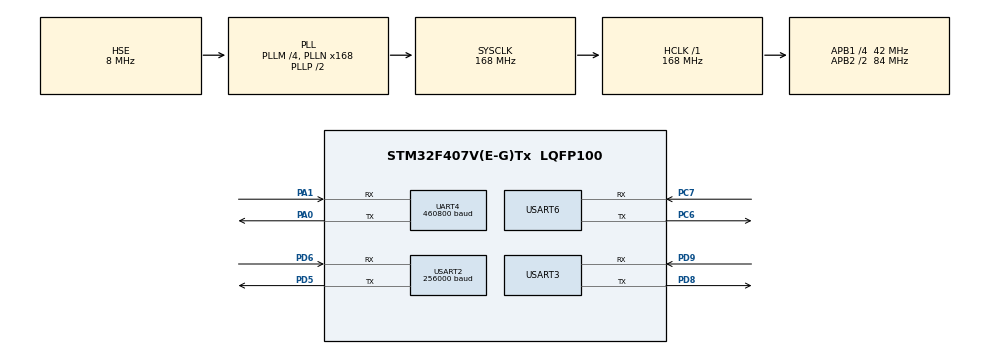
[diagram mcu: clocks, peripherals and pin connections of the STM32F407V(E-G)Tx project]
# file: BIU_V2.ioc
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Dma.Request0=USART2_RX
Dma.Request1=USART2_TX
Dma.Request2=USART3_RX
Dma.Request3=USART3_TX
Dma.Request4=UART4_RX
Dma.Request5=UART4_TX
Dma.Request6=USART6_RX
Dma.Request7=USART6_TX
Dma.UART4_RX.4.Direction=DMA_PERIPH_TO_MEMORY
Dma.UART4_RX.4.FIFOMode=DMA_FIFOMODE_DISABLE
Dma.UART4_RX.4.Instance=DMA1_Stream2
Dma.UART4_RX.4.MemDataAlignment=DMA_MDATAALIGN_BYTE
Dma.UART4_RX.4.MemInc=DMA_MINC_ENABLE
Dma.UART4_RX.4.Mode=DMA_NORMAL
Dma.UART4_RX.4.PeriphDataAlignment=DMA_PDATAALIGN_BYTE
Dma.UART4_RX.4.PeriphInc=DMA_PINC_DISABLE
Dma.UART4_RX.4.Priority=DMA_PRIORITY_LOW
Dma.UART4_TX.5.Direction=DMA_MEMORY_TO_PERIPH
Dma.UART4_TX.5.FIFOMode=DMA_FIFOMODE_DISABLE
Dma.UART4_TX.5.Instance=DMA1_Stream4
Dma.UART4_TX.5.MemDataAlignment=DMA_MDATAALIGN_BYTE
Dma.UART4_TX.5.MemInc=DMA_MINC_ENABLE
Dma.UART4_TX.5.Mode=DMA_NORMAL
Dma.UART4_TX.5.PeriphDataAlignment=DMA_PDATAALIGN_BYTE
Dma.UART4_TX.5.PeriphInc=DMA_PINC_DISABLE
Dma.UART4_TX.5.Priority=DMA_PRIORITY_LOW
Dma.USART2_RX.0.Direction=DMA_PERIPH_TO_MEMORY
Dma.USART2_RX.0.FIFOMode=DMA_FIFOMODE_DISABLE
Dma.USART2_RX.0.Instance=DMA1_Stream5
Dma.USART2_RX.0.MemDataAlignment=DMA_MDATAALIGN_BYTE
Dma.USART2_RX.0.MemInc=DMA_MINC_ENABLE
Dma.USART2_RX.0.Mode=DMA_NORMAL
Dma.USART2_RX.0.PeriphDataAlignment=DMA_PDATAALIGN_BYTE
Dma.USART2_RX.0.PeriphInc=DMA_PINC_DISABLE
Dma.USART2_RX.0.Priority=DMA_PRIORITY_LOW
Dma.USART2_TX.1.Direction=DMA_MEMORY_TO_PERIPH
Dma.USART2_TX.1.FIFOMode=DMA_FIFOMODE_DISABLE
Dma.USART2_TX.1.Instance=DMA1_Stream6
Dma.USART2_TX.1.MemDataAlignment=DMA_MDATAALIGN_BYTE
Dma.USART2_TX.1.MemInc=DMA_MINC_ENABLE
Dma.USART2_TX.1.Mode=DMA_NORMAL
Dma.USART2_TX.1.PeriphDataAlignment=DMA_PDATAALIGN_BYTE
Dma.USART2_TX.1.PeriphInc=DMA_PINC_DISABLE
Dma.USART2_TX.1.Priority=DMA_PRIORITY_LOW
Dma.USART3_RX.2.Direction=DMA_PERIPH_TO_MEMORY
Dma.USART3_RX.2.FIFOMode=DMA_FIFOMODE_DISABLE
Dma.USART3_RX.2.Instance=DMA1_Stream1
Dma.USART3_RX.2.MemDataAlignment=DMA_MDATAALIGN_BYTE
Dma.USART3_RX.2.MemInc=DMA_MINC_ENABLE
Dma.USART3_RX.2.Mode=DMA_NORMAL
Dma.USART3_RX.2.PeriphDataAlignment=DMA_PDATAALIGN_BYTE
Dma.USART3_RX.2.PeriphInc=DMA_PINC_DISABLE
Dma.USART3_RX.2.Priority=DMA_PRIORITY_LOW
Dma.USART3_TX.3.Direction=DMA_MEMORY_TO_PERIPH
Dma.USART3_TX.3.FIFOMode=DMA_FIFOMODE_DISABLE
Dma.USART3_TX.3.Instance=DMA1_Stream3
Dma.USART3_TX.3.MemDataAlignment=DMA_MDATAALIGN_BYTE
Dma.USART3_TX.3.MemInc=DMA_MINC_ENABLE
Dma.USART3_TX.3.Mode=DMA_NORMAL
Dma.USART3_TX.3.PeriphDataAlignment=DMA_PDATAALIGN_BYTE
Dma.USART3_TX.3.PeriphInc=DMA_PINC_DISABLE
Dma.USART3_TX.3.Priority=DMA_PRIORITY_LOW
Dma.USART6_RX.6.Direction=DMA_PERIPH_TO_MEMORY
Dma.USART6_RX.6.FIFOMode=DMA_FIFOMODE_DISABLE
Dma.USART6_RX.6.Instance=DMA2_Stream1
Dma.USART6_RX.6.MemDataAlignment=DMA_MDATAALIGN_BYTE
Dma.USART6_RX.6.MemInc=DMA_MINC_ENABLE
Dma.USART6_RX.6.Mode=DMA_NORMAL
Dma.USART6_RX.6.PeriphDataAlignment=DMA_PDATAALIGN_BYTE
Dma.USART6_RX.6.PeriphInc=DMA_PINC_DISABLE
Dma.USART6_RX.6.Priority=DMA_PRIORITY_LOW
Dma.USART6_TX.7.Direction=DMA_MEMORY_TO_PERIPH
Dma.USART6_TX.7.FIFOMode=DMA_FIFOMODE_DISABLE
Dma.USART6_TX.7.Instance=DMA2_Stream6
Dma.USART6_TX.7.MemDataAlignment=DMA_MDATAALIGN_BYTE
Dma.USART6_TX.7.MemInc=DMA_MINC_ENABLE
Dma.USART6_TX.7.Mode=DMA_NORMAL
Dma.USART6_TX.7.PeriphDataAlignment=DMA_PDATAALIGN_BYTE
Dma.USART6_TX.7.PeriphInc=DMA_PINC_DISABLE
Dma.USART6_TX.7.Priority=DMA_PRIORITY_LOW
FREERTOS.BinarySemaphores01=sendyawSemHandle,Dynamic,NULL,Available;sendpitchSemHandle,Dynamic,NULL,Available
FREERTOS.Events01=motor_stop,Dynamic,NULL
FREERTOS.Mutexes01=UART6,Dynamic,NULL,Available;UART2,Dynamic,NULL,Available
FREERTOS.Queues01=sendyawDataQueue,6,float,0,Dynamic,NULL,NULL;sendpitchDataQueue,6,float,0,Dynamic,NULL,NULL
FREERTOS.Tasks01=defaultTask,24,128,StartDefaultTask,Default,NULL,Dynamic,NULL,NULL;PID,8,128,StartTask02,Default,NULL,Dynamic,NULL,NULL;SendyawData,8,128,StartTask03,Default,NULL,Dynamic,NULL,NULL;SendpitchData,8,128,StartTask04,Default,NULL,Dynamic,NULL,NULL
FREERTOS.Timers01=htim_gimbal_ctrl,Callback01,osTimerPeriodic,Default,NULL,Dynamic,NULL
FREERTOS.configENABLE_FPU=1
Mcu.Family=STM32F4
Mcu.Name=STM32F407V(E-G)Tx
Mcu.Package=LQFP100
NVIC.DMA1_Stream1_IRQn=true\:5\:0\:false\:false\:true\:true\:false\:true\:true
NVIC.DMA1_Stream2_IRQn=true\:5\:0\:false\:false\:true\:true\:false\:true\:true
NVIC.DMA1_Stream3_IRQn=true\:5\:0\:false\:false\:true\:true\:false\:true\:true
NVIC.DMA1_Stream4_IRQn=true\:5\:0\:false\:false\:true\:true\:false\:true\:true
NVIC.DMA1_Stream5_IRQn=true\:5\:0\:false\:false\:true\:true\:false\:true\:true
NVIC.DMA1_Stream6_IRQn=true\:5\:0\:false\:false\:true\:true\:false\:true\:true
NVIC.DMA2_Stream1_IRQn=true\:5\:0\:false\:false\:true\:true\:false\:true\:true
NVIC.DMA2_Stream6_IRQn=true\:5\:0\:false\:false\:true\:true\:false\:true\:true
NVIC.PriorityGroup=NVIC_PRIORITYGROUP_4
NVIC.TIM6_DAC_IRQn=true\:15\:0\:false\:false\:true\:false\:false\:true\:true
NVIC.TimeBase=TIM6_DAC_IRQn
NVIC.TimeBaseIP=TIM6
NVIC.USART2_IRQn=true\:5\:0\:false\:false\:true\:true\:true\:true\:true
NVIC.USART3_IRQn=true\:5\:0\:false\:false\:true\:true\:true\:true\:true
PA0-WKUP.Mode=Asynchronous
PA0-WKUP.Signal=UART4_TX
PA1.Mode=Asynchronous
PA1.Signal=UART4_RX
PA13.Mode=Serial_Wire
PA13.Signal=SYS_JTMS-SWDIO
PA14.Mode=Serial_Wire
PA14.Signal=SYS_JTCK-SWCLK
PC6.Mode=Asynchronous
PC6.Signal=USART6_TX
PC7.Mode=Asynchronous
PC7.Signal=USART6_RX
PD5.Mode=Asynchronous
PD5.Signal=USART2_TX
PD6.Mode=Asynchronous
PD6.Signal=USART2_RX
PD8.Mode=Asynchronous
PD8.Signal=USART3_TX
PD9.Mode=Asynchronous
PD9.Signal=USART3_RX
PH0-OSC_IN.Mode=HSE-External-Oscillator
PH0-OSC_IN.Signal=RCC_OSC_IN
PH1-OSC_OUT.Mode=HSE-External-Oscillator
PH1-OSC_OUT.Signal=RCC_OSC_OUT
ProjectManager.HeapSize=0x200
ProjectManager.StackSize=0x400
ProjectManager.TargetToolchain=MDK-ARM V5.32
RCC.48MHZClocksFreq_Value=84000000
RCC.AHBFreq_Value=168000000
RCC.APB1CLKDivider=RCC_HCLK_DIV4
RCC.APB1Freq_Value=42000000
RCC.APB1TimFreq_Value=84000000
RCC.APB2CLKDivider=RCC_HCLK_DIV2
RCC.APB2Freq_Value=84000000
RCC.APB2TimFreq_Value=168000000
RCC.CortexFreq_Value=168000000
RCC.HCLKFreq_Value=168000000
RCC.HSE_VALUE=8000000
RCC.HSI_VALUE=16000000
RCC.LSE_VALUE=32768
RCC.PLLM=4
RCC.PLLN=168
RCC.PLLSourceVirtual=RCC_PLLSOURCE_HSE
RCC.SYSCLKFreq_VALUE=168000000
RCC.SYSCLKSource=RCC_SYSCLKSOURCE_PLLCLK
RCC.VCOOutputFreq_Value=336000000
UART4.BaudRate=460800
UART4.VirtualMode=Asynchronous
USART2.BaudRate=256000
USART2.VirtualMode=VM_ASYNC
USART3.VirtualMode=VM_ASYNC
USART6.VirtualMode=VM_ASYNC
VP_FREERTOS_VS_CMSIS_V2.Mode=CMSIS_V2
VP_SYS_VS_tim6.Mode=TIM6
board=custom

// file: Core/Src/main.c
/* USER CODE BEGIN Header */
/**
 ******************************************************************************
 * @file           : main.c
 * @brief          : Main program body
 ******************************************************************************
 * @attention
 *
 * Copyright (c) 2025 STMicroelectronics.
 * All rights reserved.
 *
 * This software is licensed under terms that can be found in the LICENSE file
 * in the root directory of this software component.
 * If no LICENSE file comes with this software, it is provided AS-IS.
 *
 ******************************************************************************
 */
/* USER CODE END Header */
#include "main.h"
#include "cmsis_os.h"
#include "dma.h"
#include "usart.h"
#include "gpio.h"

/* USER CODE BEGIN Includes */
#include "PID.h"
#include "FreeRTOS.h"
#include "queue.h"
/* USER CODE END Includes */

/* USER CODE BEGIN PV */
uint8_t receiveData[7]; // 接收数据缓存
QueueHandle_t receiveDataQueue = NULL;// 接收数据队列
PID_Controller pid_pitch;// PID控制器俯仰
PID_Controller pid_yaw;// PID控制器偏航
uint8_t uartTxReady = 0; // 串口发送完成标志
/* USER CODE END PV */

void SystemClock_Config(void);
void MX_FREERTOS_Init(void);

/* USER CODE BEGIN 0 */
void HAL_UART_TxCpltCallback(UART_HandleTypeDef *huart) {
        if(huart == &huart2) {
            uartTxReady = 0; // 标记发送完成，可以再次发送
            // 这里也可以进行其他的处理
        }
    }
/* USER CODE END 0 */

int main(void)
{

  /* MCU Configuration--------------------------------------------------------*/

  /* Reset of all peripherals, Initializes the Flash interface and the Systick. */
  HAL_Init();

  /* Configure the system clock */
  SystemClock_Config();

  /* Initialize all configured peripherals */
  MX_GPIO_Init();
  MX_DMA_Init();
  MX_USART2_UART_Init();
  MX_USART3_UART_Init();
  MX_UART4_Init();
  MX_USART6_UART_Init();
  /* USER CODE BEGIN 2 */
	// 启动定时器4串口接收（接收字节长度7的数据）
	HAL_UART_Receive_DMA(&huart4, receiveData, 7);
	// 启动定时器2串口接收（接收字节长度4的数据）
	HAL_UART_Receive_DMA(&huart2, receiveData, 4);
	// 创建接收数据队列
	receiveDataQueue = xQueueCreate(5, sizeof(SensorData_t));

	// PID参数初始化
	PID_Init(&pid_yaw, 0.1f, 0.0f, 0.5f);
    PID_Init(&pid_pitch, 0.1f, 0.0f, 0.5f);
  /* USER CODE END 2 */

  /* Init scheduler */
  osKernelInitialize();  /* Call init function for freertos objects (in cmsis_os2.c) */
  MX_FREERTOS_Init();

  /* Start scheduler */
  osKernelStart();

  /* We should never get here as control is now taken by the scheduler */

  /* Infinite loop */
	while (1)
	{

	}
}

void SystemClock_Config(void)
{
  RCC_OscInitTypeDef RCC_OscInitStruct = {0};
  RCC_ClkInitTypeDef RCC_ClkInitStruct = {0};

  /** Configure the main internal regulator output voltage
  */
  __HAL_RCC_PWR_CLK_ENABLE();
  __HAL_PWR_VOLTAGESCALING_CONFIG(PWR_REGULATOR_VOLTAGE_SCALE1);

  /** Initializes the RCC Oscillators according to the specified parameters
  * in the RCC_OscInitTypeDef structure.
  */
  RCC_OscInitStruct.OscillatorType = RCC_OSCILLATORTYPE_HSE;
  RCC_OscInitStruct.HSEState = RCC_HSE_ON;
  RCC_OscInitStruct.PLL.PLLState = RCC_PLL_ON;
  RCC_OscInitStruct.PLL.PLLSource = RCC_PLLSOURCE_HSE;
  RCC_OscInitStruct.PLL.PLLM = 4;
  RCC_OscInitStruct.PLL.PLLN = 168;
  RCC_OscInitStruct.PLL.PLLP = RCC_PLLP_DIV2;
  RCC_OscInitStruct.PLL.PLLQ = 4;
  if (HAL_RCC_OscConfig(&RCC_OscInitStruct) != HAL_OK)
  {
    Error_Handler();
  }

  /** Initializes the CPU, AHB and APB buses clocks
  */
  RCC_ClkInitStruct.ClockType = RCC_CLOCKTYPE_HCLK|RCC_CLOCKTYPE_SYSCLK
                              |RCC_CLOCKTYPE_PCLK1|RCC_CLOCKTYPE_PCLK2;
  RCC_ClkInitStruct.SYSCLKSource = RCC_SYSCLKSOURCE_PLLCLK;
  RCC_ClkInitStruct.AHBCLKDivider = RCC_SYSCLK_DIV1;
  RCC_ClkInitStruct.APB1CLKDivider = RCC_HCLK_DIV4;
  RCC_ClkInitStruct.APB2CLKDivider = RCC_HCLK_DIV2;

  if (HAL_RCC_ClockConfig(&RCC_ClkInitStruct, FLASH_LATENCY_5) != HAL_OK)
  {
    Error_Handler();
  }
}

/* USER CODE BEGIN 4 */
void HAL_UART_RxCpltCallback(UART_HandleTypeDef *huart)
{
	if (huart == &huart4)
    {
		SensorData_t Data;
		if (receiveData[0] == 0xAA && receiveData[1] == 0xAF && receiveData[6] == 0xFE)
		{
			Data.x = (int16_t)((receiveData[2] << 8) | receiveData[3]);
			Data.y = (int16_t)((receiveData[4] << 8) | receiveData[5]);
            BaseType_t xHigherPriorityTaskWoken = pdFALSE;
			xQueueSendToBackFromISR(receiveDataQueue, &Data, &xHigherPriorityTaskWoken);
			portYIELD_FROM_ISR(xHigherPriorityTaskWoken);
        }
		// 重新启动DMA接收
		HAL_UART_Receive_DMA(&huart4, receiveData, 7);
	}
}
/* USER CODE END 4 */

void HAL_TIM_PeriodElapsedCallback(TIM_HandleTypeDef *htim)
{
  if (htim->Instance == TIM6)
  {
    HAL_IncTick();
  }
}

void Error_Handler(void)
{
	__disable_irq();
	while (1)
	{
	}
}

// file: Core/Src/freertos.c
/* USER CODE BEGIN Header */
/**
  ******************************************************************************
  * File Name          : freertos.c
  * Description        : Code for freertos applications
  ******************************************************************************
  * @attention
  *
  * Copyright (c) 2025 STMicroelectronics.
  * All rights reserved.
  *
  * This software is licensed under terms that can be found in the LICENSE file
  * in the root directory of this software component.
  * If no LICENSE file comes with this software, it is provided AS-IS.
  *
  ******************************************************************************
  */
/* USER CODE END Header */

#include "FreeRTOS.h"
#include "task.h"
#include "main.h"
#include "cmsis_os.h"

/* USER CODE BEGIN Includes */
#include "queue.h"
#include "stdio.h"
#include "PID.h"
/* USER CODE END Includes */

/* USER CODE BEGIN PD */
// 事件组标志位
#define EVENT_BIT_0 (1 << 0) // 偏航云台急停
#define EVENT_BIT_1 (1 << 1) // 俯仰云台急停
/* USER CODE END PD */

/* USER CODE BEGIN Variables */
extern QueueHandle_t receiveDataQueue;
// PID控制器实例
extern PID_Controller pid_pitch;
extern PID_Controller pid_yaw;
extern uint8_t uartTxReady;
/* USER CODE END Variables */
/* Definitions for defaultTask */
osThreadId_t defaultTaskHandle;
const osThreadAttr_t defaultTask_attributes = {
  .name = "defaultTask",
  .stack_size = 128 * 4,
  .priority = (osPriority_t) osPriorityNormal,
};
/* Definitions for PID */
osThreadId_t PIDHandle;
const osThreadAttr_t PID_attributes = {
  .name = "PID",
  .stack_size = 128 * 4,
  .priority = (osPriority_t) osPriorityLow,
};
/* Definitions for SendyawData */
osThreadId_t SendyawDataHandle;
const osThreadAttr_t SendyawData_attributes = {
  .name = "SendyawData",
  .stack_size = 128 * 4,
  .priority = (osPriority_t) osPriorityLow,
};
/* Definitions for SendpitchData */
osThreadId_t SendpitchDataHandle;
const osThreadAttr_t SendpitchData_attributes = {
  .name = "SendpitchData",
  .stack_size = 128 * 4,
  .priority = (osPriority_t) osPriorityLow,
};
/* Definitions for sendyawDataQueue */
osMessageQueueId_t sendyawDataQueueHandle;
const osMessageQueueAttr_t sendyawDataQueue_attributes = {
  .name = "sendyawDataQueue"
};
/* Definitions for sendpitchDataQueue */
osMessageQueueId_t sendpitchDataQueueHandle;
const osMessageQueueAttr_t sendpitchDataQueue_attributes = {
  .name = "sendpitchDataQueue"
};
/* Definitions for htim_gimbal_ctrl */
osTimerId_t htim_gimbal_ctrlHandle;
const osTimerAttr_t htim_gimbal_ctrl_attributes = {
  .name = "htim_gimbal_ctrl"
};
/* Definitions for UART6 */
osMutexId_t UART6Handle;
const osMutexAttr_t UART6_attributes = {
  .name = "UART6"
};
/* Definitions for UART2 */
osMutexId_t UART2Handle;
const osMutexAttr_t UART2_attributes = {
  .name = "UART2"
};
/* Definitions for sendyawSemHandle */
osSemaphoreId_t sendyawSemHandleHandle;
const osSemaphoreAttr_t sendyawSemHandle_attributes = {
  .name = "sendyawSemHandle"
};
/* Definitions for sendpitchSemHandle */
osSemaphoreId_t sendpitchSemHandleHandle;
const osSemaphoreAttr_t sendpitchSemHandle_attributes = {
  .name = "sendpitchSemHandle"
};
/* Definitions for motor_stop */
osEventFlagsId_t motor_stopHandle;
const osEventFlagsAttr_t motor_stop_attributes = {
  .name = "motor_stop"
};

/* USER CODE BEGIN FunctionPrototypes */
void send_gimbal_motor_cmd(uint8_t motor_id, uint8_t direction, uint16_t speed, uint8_t accel_level,
				   uint32_t pulse_count, uint8_t pos_mode, uint8_t sync_enable);
void send_gimbal_motor_cmd(uint8_t motor_id, uint8_t direction, uint16_t speed, uint8_t accel_level,
				   uint32_t pulse_count, uint8_t pos_mode, uint8_t sync_enable);
/* USER CODE END FunctionPrototypes */

void StartDefaultTask(void *argument);
void StartTask02(void *argument);
void StartTask03(void *argument);
void StartTask04(void *argument);
void Callback01(void *argument);

void MX_FREERTOS_Init(void); /* (MISRA C 2004 rule 8.1) */

void MX_FREERTOS_Init(void) {
  /* Create the mutex(es) */
  /* creation of UART6 */
  UART6Handle = osMutexNew(&UART6_attributes);

  /* creation of UART2 */
  UART2Handle = osMutexNew(&UART2_attributes);

  /* Create the semaphores(s) */
  /* creation of sendyawSemHandle */
  sendyawSemHandleHandle = osSemaphoreNew(1, 1, &sendyawSemHandle_attributes);

  /* creation of sendpitchSemHandle */
  sendpitchSemHandleHandle = osSemaphoreNew(1, 1, &sendpitchSemHandle_attributes);

  /* Create the timer(s) */
  /* creation of htim_gimbal_ctrl */
  htim_gimbal_ctrlHandle = osTimerNew(Callback01, osTimerPeriodic, NULL, &htim_gimbal_ctrl_attributes);

  /* USER CODE BEGIN RTOS_TIMERS */
  /* start timers, add new ones, ... */
  osTimerStart(htim_gimbal_ctrlHandle, 50);
  /* USER CODE END RTOS_TIMERS */

  /* Create the queue(s) */
  /* creation of sendyawDataQueue */
  sendyawDataQueueHandle = osMessageQueueNew (6, sizeof(float), &sendyawDataQueue_attributes);

  /* creation of sendpitchDataQueue */
  sendpitchDataQueueHandle = osMessageQueueNew (6, sizeof(float), &sendpitchDataQueue_attributes);

  /* Create the thread(s) */
  /* creation of defaultTask */
  defaultTaskHandle = osThreadNew(StartDefaultTask, NULL, &defaultTask_attributes);

  /* creation of PID */
  PIDHandle = osThreadNew(StartTask02, NULL, &PID_attributes);

  /* creation of SendyawData */
  SendyawDataHandle = osThreadNew(StartTask03, NULL, &SendyawData_attributes);

  /* creation of SendpitchData */
  SendpitchDataHandle = osThreadNew(StartTask04, NULL, &SendpitchData_attributes);

  /* creation of motor_stop */
  motor_stopHandle = osEventFlagsNew(&motor_stop_attributes);

}

void StartDefaultTask(void *argument)
{
  /* USER CODE BEGIN StartDefaultTask */
  /* Infinite loop */
  for(;;)
  {
	//获取互斥量，获取成功后打印调试信息，然后释放互斥量
	if (osMutexAcquire(UART6Handle, osWaitForever) == osOK) {
		printf("FreeRTOS is running...\r\n");
		osMutexRelease(UART6Handle);
	}
	osDelay(1000);
  }
  /* USER CODE END StartDefaultTask */
}

void StartTask02(void *argument)
{
  /* USER CODE BEGIN StartTask02 */

  /* Infinite loop */
  for(;;)
  {
	  SensorData_t RecvData;
	  float target_yaw_deg = 0;
	  float target_pitch_deg = 0;
	  if (xQueueReceive(receiveDataQueue, &RecvData, portMAX_DELAY) == pdPASS) {
		  	if (RecvData.x < 10 && RecvData.x > -10){
				RecvData.x = 0;
				//标志位motor_stopHandle，表示云台急停
				osEventFlagsSet(motor_stopHandle, EVENT_BIT_0);
			}
			if (RecvData.y < 10 && RecvData.y > -10){
				RecvData.y = 0;
				//标志位motor_stopHandle，表示云台急停
				osEventFlagsSet(motor_stopHandle, EVENT_BIT_1);
			}

			target_yaw_deg = RecvData.x / 1.0;
			target_pitch_deg = RecvData.y / 1.0;

			//printf("x: %d, y: %d\r\n", target_yaw_deg, target_pitch_deg);
	  }
	  float yaw_out = PID_Compute(&pid_yaw, target_yaw_deg);
	  float pitch_out = PID_Compute(&pid_pitch, target_pitch_deg);

	  // 发送计算后的角度数据到发送队列
	  // yaw放数据前判断队列是否已满，满了就先取出一个
	  if (osMessageQueueGetCount(sendyawDataQueueHandle) == osMessageQueueGetCapacity(sendyawDataQueueHandle)) {
		  float dummy;
		  osMessageQueueGet(sendyawDataQueueHandle, &dummy, NULL, 0); // 丢弃最旧数据
	  }
	  osMessageQueuePut(sendyawDataQueueHandle, &yaw_out, 0, 0);
	  // pitch放数据前判断队列是否已满，满了就先取出一个
	  if (osMessageQueueGetCount(sendpitchDataQueueHandle) == osMessageQueueGetCapacity(sendpitchDataQueueHandle)) {
		  float dummy;
		  osMessageQueueGet(sendpitchDataQueueHandle, &dummy, NULL, 0); // 丢弃最旧数据
	  }
	  osMessageQueuePut(sendpitchDataQueueHandle, &pitch_out, 0, 0);
	osDelay(10);
  }
  /* USER CODE END StartTask02 */
}

void StartTask03(void *argument)
{
  /* USER CODE BEGIN StartTask03 */
  /* Infinite loop */
  for(;;)
  {
    // 等待信号量，确保定时器周期到达后再发送数据
    if(osSemaphoreAcquire(sendyawSemHandleHandle, osWaitForever) == osOK){
        // 从发送队列中接收数据
	    float yaw;
	    if (osMessageQueueGet(sendyawDataQueueHandle, &yaw, NULL, osWaitForever) == osOK) {
			//判断云台状态
			uint32_t event_flags = osEventFlagsWait(motor_stopHandle, EVENT_BIT_0, osFlagsWaitAny, 0);
		    // 发送数据处理，例如通过UART发送
		    uint16_t speed = 500;
		    if(event_flags == EVENT_BIT_0){
			    send_gimbal_motor_cmd(0x01, 0xFF, 0x00, 0x00, 0x00, 0x00, 0x00);
		    }
			else {
		    	if(yaw > 0){//正转
					uint32_t outyaw = (uint32_t)(142.0f * yaw * 6.0f);
					send_gimbal_motor_cmd(0x01, 0x00, speed, 0xDD, outyaw, 0x00, 0x00);
		    	}
		    	else{//反转
					yaw = -yaw;
					uint32_t outyaw = (uint32_t)(142.0f * yaw * 6.0f);
					send_gimbal_motor_cmd(0x01, 0x01, speed, 0xDD, outyaw, 0x00, 0x00);
	        	}
			}
			//获取互斥量，获取成功后打印调试信息，然后释放互斥量
			if (osMutexAcquire(UART6Handle, osWaitForever) == osOK) {
			    printf("Yaw: %.2f\r\n", yaw);
			    osMutexRelease(UART6Handle);
		    }
	    }
    }
    osDelay(5);
  }
  /* USER CODE END StartTask03 */
}

void StartTask04(void *argument)
{
  /* USER CODE BEGIN StartTask04 */
  /* Infinite loop */
  for(;;)
  {
	// 等待信号量，确保定时器周期到达后再发送数据
    if(osSemaphoreAcquire(sendpitchSemHandleHandle, osWaitForever) == osOK){
        // 从发送队列中接收数据
	    float pitch;
	    if (osMessageQueueGet(sendpitchDataQueueHandle, &pitch, NULL, osWaitForever) == osOK) {
			//判断云台状态
			uint32_t event_flags = osEventFlagsWait(motor_stopHandle, EVENT_BIT_1, osFlagsWaitAny, 0);
		    // 发送数据处理，例如通过UART发送
		    uint16_t speed = 500;
		    if(event_flags == EVENT_BIT_1){
			    send_gimbal_motor_cmd(0x02, 0xFF, 0x00, 0x00, 0x00, 0x00, 0x00);
		    }
			else {
		    	if(pitch > 0){//正转
					uint32_t outpitch = (uint32_t)(142.0f * pitch * 6.0f);
					send_gimbal_motor_cmd(0x02, 0x01, speed, 0xDD, outpitch, 0x00, 0x00);
		    	}
		    	else{//反转
					pitch = -pitch;
					uint32_t outpitch = (uint32_t)(142.0f * pitch * 6.0f);
					send_gimbal_motor_cmd(0x02, 0x00, speed, 0xDD, outpitch, 0x00, 0x00);
	        	}
			}
			//获取互斥量，获取成功后打印调试信息，然后释放互斥量
			if (osMutexAcquire(UART6Handle, osWaitForever) == osOK) {
			    printf("Pitch: %.2f\r\n", pitch);
			    osMutexRelease(UART6Handle);
		    }
	    }
    }
    osDelay(5);
  }
  /* USER CODE END StartTask04 */
}

/* Callback01 function */
void Callback01(void *argument)
{
  /* USER CODE BEGIN Callback01 */
    //释放sendSemHandleHandle信号量
    osSemaphoreRelease(sendyawSemHandleHandle);
	//释放sendpitchSemHandle信号量
	osSemaphoreRelease(sendpitchSemHandleHandle);
  /* USER CODE END Callback01 */
}

/* USER CODE BEGIN Application */
void send_motor_cmd(uint8_t motor_id, uint8_t direction, uint16_t speed, uint8_t accel_level,
                   uint32_t pulse_count, uint8_t pos_mode, uint8_t sync_enable) {
    if(!uartTxReady) { // 只有在上次发送完成后才发送新指令
        static uint8_t cmd[13];
        cmd[0] = motor_id;
        cmd[1] = 0xFD;
        cmd[2] = direction;
        cmd[3] = (speed >> 8) & 0xFF;
        cmd[4] = speed & 0xFF;
        cmd[5] = accel_level;
        cmd[6] = (pulse_count >> 24) & 0xFF;
        cmd[7] = (pulse_count >> 16) & 0xFF;
        cmd[8] = (pulse_count >> 8) & 0xFF;
        cmd[9] = pulse_count & 0xFF;
        cmd[10] = pos_mode;
        cmd[11] = sync_enable;
        cmd[12] = 0x6B;
		if (osMutexAcquire(UART2Handle, osWaitForever) == osOK) {
        	HAL_UART_Transmit_DMA(&huart2, cmd, 13);
			osMutexRelease(UART2Handle);
		}
        uartTxReady = 1; // 标记正在发送，等待发送完成
    }
}

//云台电机控制发送函数
/**
* @brief 云台电机控制发送函数（带模式参数）
* @param motor_id: 电机ID，0x01为偏航云台，0x02为俯仰云台
* @param direction: 方向，0x00为正转，0x01为反转 0xFF为停止
* @param speed: 速度，单位为脉冲每秒（PPS）
* @param accel_level: 加速度等级
* @param pulse_count: 脉冲数，控制转动角度
* @param pos_mode: 位置模式
* @param sync_enable: 同步使能
* @retval None
*/
void send_gimbal_motor_cmd(uint8_t motor_id, uint8_t direction, uint16_t speed, uint8_t accel_level,
				   uint32_t pulse_count, uint8_t pos_mode, uint8_t sync_enable) {
	if(direction != 0xFF) { // 启动控制
		send_motor_cmd(motor_id, direction, speed, accel_level, pulse_count, pos_mode, sync_enable);
	}
	else {// 急停控制
		uint8_t stop[5] = {motor_id, 0xFE, 0x98, 0x00, 0x6B};
		if(uartTxReady == 0) { // 只有在上次发送完成后才发送新指令
			if (osMutexAcquire(UART2Handle, osWaitForever) == osOK) {
				HAL_UART_Transmit_DMA(&huart2, stop, 5);
				osMutexRelease(UART2Handle);
			}
			uartTxReady = 1; // 标记正在发送，等待发送完成
		}
	}
}
/* USER CODE END Application */
